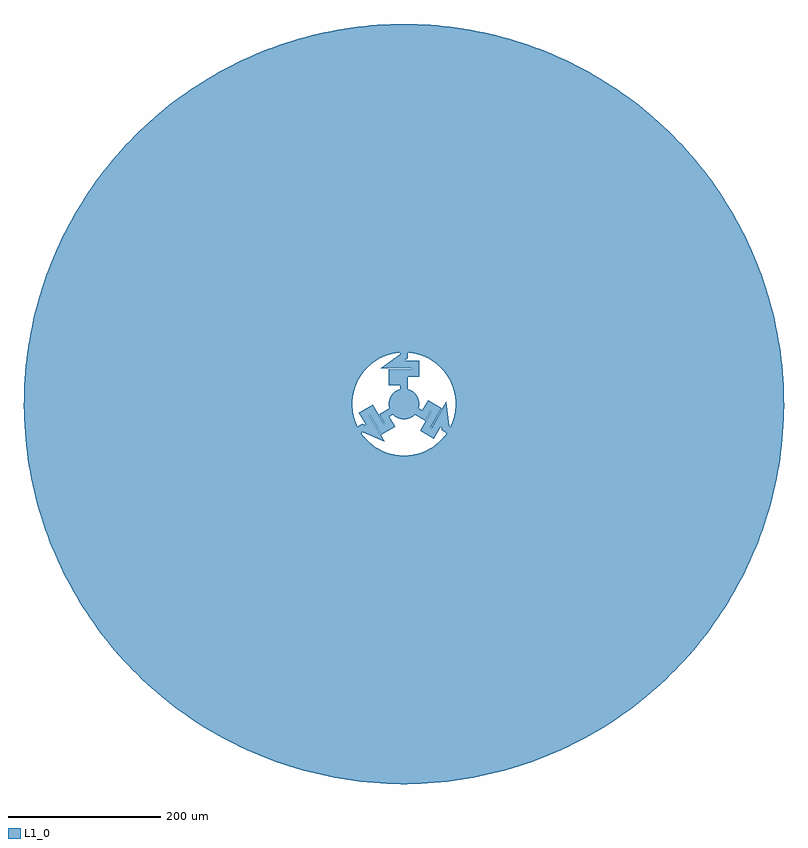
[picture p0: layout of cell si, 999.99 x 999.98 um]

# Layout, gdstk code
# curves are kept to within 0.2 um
import gdstk
lib = gdstk.Library(unit=1e-6, precision=1e-09)
def P(c, l, *ps):  # polygons
    for p in ps: c.add(gdstk.Polygon(p, *l))
L1_0 = (1, 0)

c_si = lib.new_cell('si')
P(c_si, L1_0, [(-0.175,-19.999),(-4.341,-19.523),(-7.996,-18.332),(-11.356,-16.464),(-14.296,-13.987),(-16.708,-10.993),(-18.503,-7.593),(-19.614,-3.913),(-19.998,0.263),(-19.579,4.084),(-18.297,8.076),(-16.414,11.428),(-13.924,14.357),(-10.92,16.756),(-7.512,18.536),(-3.827,19.631),(0.35,19.997),(4.17,19.561),(8.156,18.261),(11.499,16.363),(14.418,13.861),(16.804,10.846),(18.568,7.431),(19.647,3.741),(20,-0.088),(19.614,-3.913),(18.503,-7.593),(16.513,-11.284),(14.049,-14.235),(10.773,-16.851),(7.349,-18.601),(3.655,-19.663)],
  [(-4.375,-499.981),(-30.609,-499.062),(-56.759,-496.768),(-82.752,-493.105),(-99.958,-489.907),(-125.531,-483.985),(-150.759,-476.73),(-175.57,-468.161),(-199.898,-458.302),(-215.815,-451.025),(-239.188,-439.078),(-261.902,-425.92),(-283.894,-411.588),(-305.103,-396.121),(-325.472,-379.563),(-344.944,-361.959),(-357.4,-349.665),(-375.258,-330.426),(-392.082,-310.277),(-407.826,-289.272),(-417.699,-274.822),(-431.547,-252.522),(-440.12,-237.265),(-451.965,-213.839),(-462.565,-189.825),(-471.89,-165.287),(-479.914,-140.294),(-486.616,-114.914),(-491.976,-89.217),(-494.797,-71.945),(-497.891,-45.878),(-499.612,-19.685),(-499.957,6.563),(-499.421,24.056),(-498.273,41.519),(-495.352,68),(0,68),(-8.31,67.49),(-16.496,65.969),(-24.434,63.459),(-32.006,59.997),(-39.098,55.636),(-45.604,50.441),(-51.426,44.49),(-56.478,37.871),(-60.683,30.686),(-63.978,23.04),(-66.314,15.049),(-67.656,6.832),(-67.984,-1.488),(-67.292,-9.784),(-65.592,-17.935),(-62.909,-25.816),(-59.282,-33.311),(-54.767,-40.306),(-49.431,-46.696),(-43.354,-52.387),(-36.627,-57.293),(-29.351,-61.339),(-21.635,-64.467),(-13.594,-66.627),(-5.35,-67.789),(2.974,-67.935),(11.254,-67.062),(19.365,-65.184),(27.186,-62.329),(34.599,-58.54),(41.494,-53.872),(47.767,-48.398),(54.054,-41.258),(59.282,-33.311),(62.909,-25.816),(65.896,-16.784),(67.594,-7.423),(67.994,0.893),(67.204,10.373),(65.433,18.508),(62.21,27.459),(57.769,35.872),(52.952,42.663),(46.48,49.635),(39.098,55.636),(30.951,60.548),(22.198,64.275),(14.177,66.506),(7.128,67.625),(0,68),(-495.352,68),(-491.176,93.519),(-485.591,119.168),(-481.124,136.089),(-473.318,161.151),(-464.209,185.77),(-457.423,201.902),(-450.077,217.786),(-438.027,241.107),(-429.321,256.289),(-415.278,278.467),(-405.279,292.83),(-389.352,313.696),(-378.135,327.13),(-360.446,346.524),(-348.098,358.926),(-328.781,376.7),(-315.396,387.976),(-294.6,403.994),(-272.992,418.898),(-250.631,432.648),(-235.337,441.154),(-211.86,452.897),(-195.88,460.034),(-171.467,469.68),(-154.925,475.393),(-129.762,482.868),(-112.783,487.114),(-87.063,492.362),(-69.779,495.107),(-43.699,498.087),(-17.498,499.694),(0,500),(17.498,499.694),(43.699,498.087),(69.779,495.107),(95.667,490.763),(121.291,485.065),(146.581,478.031),(171.467,469.68),(195.88,460.034),(211.86,452.897),(235.337,441.154),(258.165,428.195),(280.281,414.056),(294.6,403.994),(315.396,387.976),(335.323,370.888),(354.326,352.779),(372.352,333.697),(389.352,313.696),(405.279,292.83),(415.278,278.467),(429.321,256.289),(442.179,233.404),(453.819,209.876),(464.209,185.77),(473.318,161.151),(481.124,136.089),(487.603,110.651),(491.176,93.519),(495.408,67.612),(498.273,41.519),(499.421,24.056),(499.995,-2.188),(499.191,-28.425),(497.012,-54.584),(494.797,-71.945),(490.339,-97.813),(486.616,-114.914),(479.914,-140.294),(471.89,-165.287),(462.565,-189.825),(451.965,-213.839),(440.12,-237.265),(427.061,-260.036),(412.826,-282.09),(402.701,-296.365),(386.592,-317.091),(369.418,-336.943),(351.225,-355.866),(332.065,-373.809),(311.989,-390.721),(291.054,-406.556),(269.316,-421.271),(254.408,-430.438),(231.467,-443.196),(207.888,-454.733),(183.737,-465.017),(159.079,-474.019),(142.392,-479.296),(117.042,-486.108),(91.369,-491.581),(65.444,-495.699),(39.339,-498.45),(13.125,-499.828)])
c_si.add(gdstk.FlexPath([(0,0),(0,30),(-15,30),(-15,41),(15,41),(15,52),(-15,52),(-15,52),(0,63),(0,68)], 10, ends="flush", simple_path=True, layer=1, datatype=0))  # L1_0
c_si.add(gdstk.FlexPath([(0,0),(-25.981,-15),(-18.481,-27.99),(-28.007,-33.49),(-43.007,-7.51),(-52.533,-13.01),(-37.533,-38.99),(-37.533,-38.99),(-54.56,-31.5),(-58.89,-34)], 10, ends="flush", simple_path=True, layer=1, datatype=0))  # L1_0
c_si.add(gdstk.FlexPath([(0,0),(25.981,-15),(33.481,-2.01),(43.007,-7.51),(28.007,-33.49),(37.533,-38.99),(52.533,-13.01),(52.533,-13.01),(54.56,-31.5),(58.89,-34)], 10, ends="flush", simple_path=True, layer=1, datatype=0))  # L1_0

lib.write_gds('si.gds')
